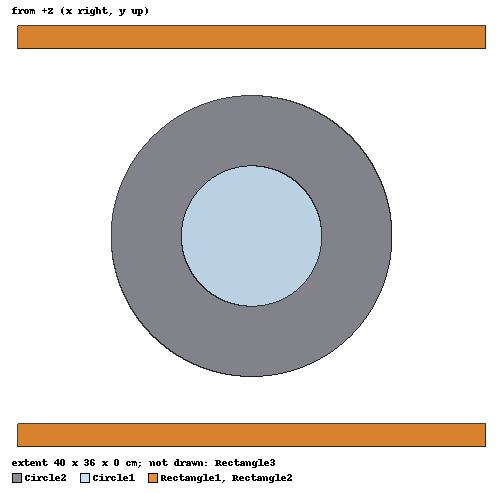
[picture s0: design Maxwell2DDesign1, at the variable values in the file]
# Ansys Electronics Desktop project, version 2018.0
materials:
  vacuum: permittivity=1
  air: permittivity=1.0006 permeability=1.0000004
  iron: permeability=4000 conductivity=10300000
  copper: permeability=0.999991 conductivity=58000000

design Maxwell2DDesign1 (Maxwell 2D, Magnetostatic, XY geometry, model units cm)
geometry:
  Circle1 [air] = circle(normal=Z, centre=(0cm, 0cm, 0cm), radius=6cm)
  Circle2 [iron] = circle(normal=Z, centre=(0cm, 0cm, 0cm), radius=12cm)
  Rectangle1 [copper] = rectangle(corner=(-20cm, 16cm, 0cm), x_size=40cm, y_size=2cm)
  Rectangle2 [copper] = rectangle(corner=(-20cm, -16cm, 0cm), x_size=40cm, y_size=-2cm)
  Rectangle3 [vacuum] = rectangle(corner=(-40cm, 24cm, 0cm), x_size=84cm, y_size=-56cm)
  point Point1 = (0cm, 0cm, 0cm)
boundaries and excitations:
  Balloon1: Balloon Edges=Rectangle3.edge(all 4)
  Current1: Current Objects=Rectangle1 Current=10A IsPositive=true
  Current2: Current Objects=Rectangle2 Current=10A IsPositive=false
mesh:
  initial mesh: MeshMethod=AnsoftTAU
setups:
  Setup1: Magnetostatic MaximumPasses=10 MinimumPasses=2 MinimumConvergedPasses=1 PercentRefinement=30 PercentError=1 NonLinearResidual=0.0001
